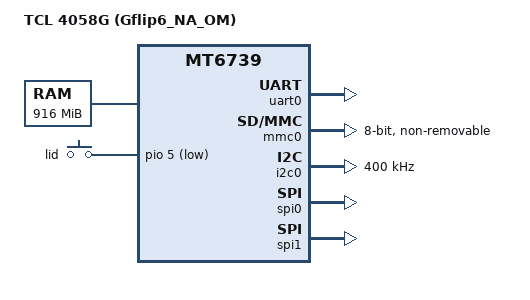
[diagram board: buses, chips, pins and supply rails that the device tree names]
// SPDX-License-Identifier: (GPL-2.0-only OR BSD-2-Clause)
/*
 * TCL 4058G (Gflip6_NA_OM) - MediaTek MT6739 clamshell phone
 *
 * Copyright (c) 2025 The Linux Foundation
 *
 * Board facts below were recovered from the device itself, not guessed:
 * the vendor `dtbo.img` from ~/Backups/tcl-flip2-rom carries the real
 * per-SKU overlay.  It was unpacked with the Android DTBO header
 * (magic 0xd7b7ab1e, one entry) and decompiled; "fragment@N" references
 * in the comments point at that decompiled overlay.  Nothing from the
 * vendor overlay was copied - only GPIO numbers, addresses and
 * regulator/panel facts, rewritten in mainline style.
 *
 * Notable: this board has no touchscreen, and the keypad matrix is an
 * external I2C controller (SN7326 at 0x58), not the MT6739 keypad block.
 */

/dts-v1/;

#include <dt-bindings/gpio/gpio.h>
#include <dt-bindings/input/input.h>
#include "mt6739.dtsi"

/ {
	model = "TCL 4058G (Gflip6_NA_OM)";
	compatible = "tcl,4058g", "mediatek,mt6739";

	/*
	 * `androidboot` style cmdline of the vendor image used
	 * console=ttyMT0,921600n1; the MTK ttyMT naming maps to &uart0.
	 * fragment@0 (chosen) only overrides the framebuffer atags.
	 */
	chosen {
		stdout-path = &uart0;
	};

	/*
	 * 916 MiB usable of the 1 GiB DRAM, split from the SoC default in
	 * mt6739.dtsi.  Same value the running Android 11 kernel reports;
	 * the top 108 MiB go to the modem/consys/ATF carve-outs.
	 */
	memory@40000000 {
		device_type = "memory";
		reg = <0 0x40000000 0 0x39400000>;
	};

	/*
	 * Lid/hall switch.  Vendor: fragment@24 "ClamShell_key",
	 * gpios = <&pio 5 ACTIVE_LOW>, EV_KEY code 0xfc, debounce 15 ms.
	 * Upstream models a clamshell hall sensor as SW_LID on EV_SW, which
	 * lets userspace (and the future sub-panel power policy) react
	 * without a keymap.
	 */
	gpio-keys {
		compatible = "gpio-keys";
		pinctrl-names = "default";
		pinctrl-0 = <&lid_pins>;

		lid-switch {
			label = "lid";
			gpios = <&pio 5 GPIO_ACTIVE_LOW>;
			linux,input-type = <EV_SW>;
			linux,code = <SW_LID>;
			debounce-interval = <15>;
			wakeup-source;
		};
	};
};

&pio {
	/*
	 * UART0 console: GPIO20 = UART0RX, GPIO21 = UART0TX, both mux
	 * function 1 (vendor: fragment@13 uart0_rx_set@20 / uart0_tx_set@21,
	 * pinmux <0x1401> / <0x1501>; function names from
	 * kernel-4.4/drivers/pinctrl/mediatek/pinctrl-mtk-mt6739.h).
	 */
	uart0_pins: uart0-pins {
		pins {
			pinmux = <20 1>, <21 1>;
			drive-strength = <4>;
		};
	};

	/* fragment@20: pinmux <0x8001> <0x8101> = GPIO128 SDA, GPIO129 SCL, function 1 (I2C0) */
	i2c0_pins: i2c0-pins {
		pins {
			pinmux = <128 1>, <129 1>;
			drive-strength = <4>;
			bias-pull-up = <1>;
		};
	};

	/*
	 * SPI0 (main panel): pinmux <0x1f01 0x2001 0x2101 0x2201>
	 * = GPIO31 SPI0_A_CSB, GPIO32 SPI0_A_CLK, GPIO33 SPI0_A_MI,
	 * GPIO34 SPI0_A_MO, all function 1.  Vendor: fragment@17 lcd_spi_on.
	 */
	spi0_pins: spi0-pins {
		pins {
			pinmux = <31 1>, <32 1>, <33 1>, <34 1>;
			drive-strength = <3>;
		};
	};

	/*
	 * SPI1 (sub screen): pinmux <0x1001 0x1101 0x1201 0x1301>
	 * = GPIO16 SPI1_A_CSB, GPIO17 SPI1_A_CLK, GPIO18 SPI1_A_MI,
	 * GPIO19 SPI1_A_MO, function 1.  Vendor: fragment@17 lcd_spi1_on.
	 */
	spi1_pins: spi1-pins {
		pins {
			pinmux = <16 1>, <17 1>, <18 1>, <19 1>;
			drive-strength = <3>;
		};
	};

	/* fragment@23: pinmux <0x500> = GPIO5 as plain GPIO, input */
	lid_pins: lid-pins {
		pins {
			pinmux = <5 0>;
			input-enable;
			bias-pull-up;
		};
	};

	/* fragment@21: keypad interrupt on GPIO6, reset line on GPIO22 */
	keypad_pins: keypad-pins {
		pins {
			pinmux = <6 0>, <22 0>;
			input-enable;
			bias-pull-up;
		};
	};
};

&uart0 {
	pinctrl-names = "default";
	pinctrl-0 = <&uart0_pins>;
	status = "okay";
};

/*
 * eMMC.  A-only partition layout, no SD slot: only msdc0 is wired.
 * Enable this node last during bring-up (see docs/foundation-plan.md).
 */
&mmc0 {
	bus-width = <8>;
	max-frequency = <200000000>;
	non-removable;
	cap-mmc-highspeed;
	mmc-ddr-1_8v;
	status = "okay";
};

/*
 * I2C0 (400 kHz, open drain - vendor fragment@31) carries:
 *   0x58  SN7326 keypad matrix controller (fragment@21)
 *   0x3e  LCD bias/backlight controller (fragment@31 i2c_lcd_bias)
 *   0x5d  capacitive touch controller (fragment@31) - present in the
 *         vendor DT but not functional on this SKU (no touch panel)
 */
&i2c0 {
	pinctrl-names = "default";
	pinctrl-0 = <&i2c0_pins>;
	clock-frequency = <400000>;
	status = "okay";

	/*
	 * Matrix keypad.  Vendor compatible string is an out-of-tree binding
	 * ("sn7326,matrix-keypad" with sn7326,keymap-value = 23 packed
	 * scan-code/key pairs).  The keymap and the reset GPIO are real
	 * hardware facts; the binding is not upstream, so this node stays
	 * disabled until a driver exists (docs/foundation-plan.md step 9).
	 */
	keypad@58 {
		compatible = "sn7326,matrix-keypad";
		reg = <0x58>;
		interrupt-parent = <&pio>;
		interrupts = <6 IRQ_TYPE_EDGE_FALLING>;
		reset-gpios = <&pio 22 GPIO_ACTIVE_LOW>;
		pinctrl-names = "default";
		pinctrl-0 = <&keypad_pins>;
		status = "disabled";
	};

	/* fragment@31: LCD bias supply, no upstream driver yet */
	lcd-bias@3e {
		compatible = "tcl,i2c-lcd-bias";
		reg = <0x3e>;
		status = "disabled";
	};
};

/*
 * ---------------------------------------------------------------------
 * Displays
 * ---------------------------------------------------------------------
 * Two SPI panels are described by the vendor overlay, and which one is
 * the "main" 240x320 screen is still an open question (see
 * docs/foundation-plan.md, "Open questions"):
 *
 *  - fragment@18 puts a 240x320 panel on spi0 ("mediatek,lcd-spi-display",
 *    lcm-width 240 / lcm-height 320, 56 MHz, TE GPIO83, reset GPIO25,
 *    "wrx" GPIO23, strap GPIOs 110/111).  240x320 matches the known main
 *    panel size, and MTK's DISP block drives that node, so spi0 is
 *    described as the main panel here.
 *  - fragment@19 puts a 128x128 panel on spi1 ("mediatek,st7735s",
 *    10 MHz, reset GPIO122, dc GPIO13, strap GPIOs 106/107).  That is the
 *    sub screen.  The vendor string says ST7735S; the board notes for
 *    this unit say ST7789V2 - both are Sitronix SPI controllers and the
 *    strap GPIOs exist precisely because the factory fits panel
 *    variants, so this needs to be confirmed on hardware.
 */

&spi0 {
	pinctrl-names = "default";
	pinctrl-0 = <&spi0_pins>;
	status = "okay";

	panel@0 {
		compatible = "sitronix,st7789v";
		reg = <0>;
		spi-max-frequency = <56000000>;
		spi-cpol;
		spi-cpha;
		reset-gpios = <&pio 25 GPIO_ACTIVE_LOW>;
		/* vendor "lcm-wrx" acts as the D/C line in SPI mode */
		dc-gpios = <&pio 23 GPIO_ACTIVE_HIGH>;
		rotation = <0>;
		status = "disabled";
	};
};

&spi1 {
	pinctrl-names = "default";
	pinctrl-0 = <&spi1_pins>;
	status = "okay";

	panel@0 {
		compatible = "sitronix,st7735s";
		reg = <0>;
		spi-max-frequency = <10000000>;
		spi-cpol;
		spi-cpha;
		reset-gpios = <&pio 122 GPIO_ACTIVE_LOW>;
		dc-gpios = <&pio 13 GPIO_ACTIVE_HIGH>;
		status = "disabled";
	};
};
